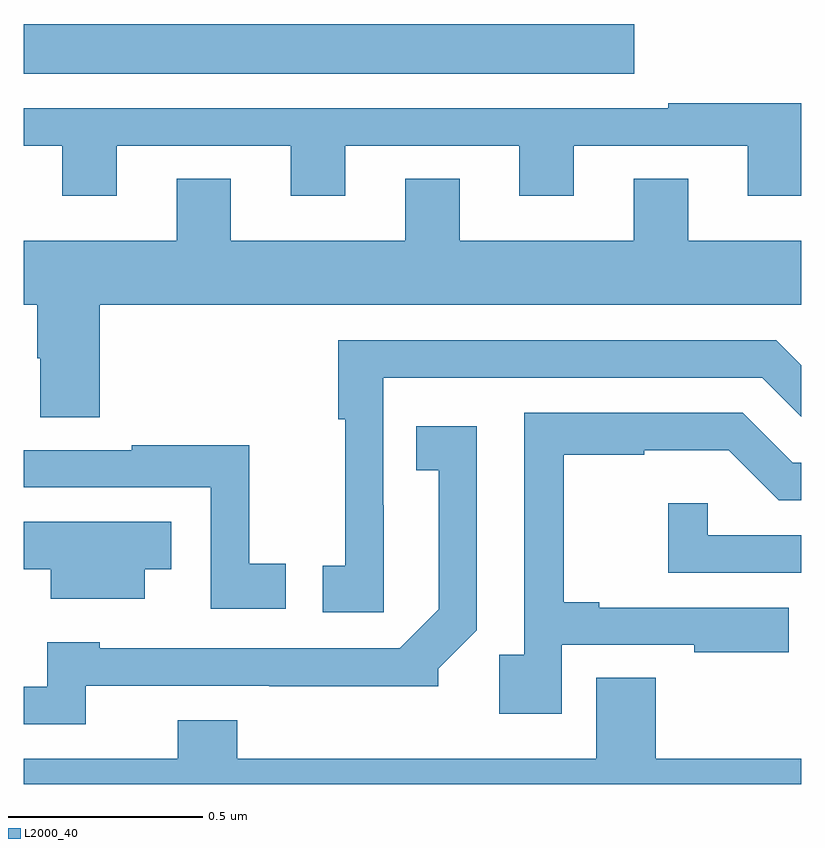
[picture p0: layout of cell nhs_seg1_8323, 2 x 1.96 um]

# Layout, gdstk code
import gdstk
lib = gdstk.Library(unit=1e-6, precision=1e-09)
def R(c, l, rs):  # rectangles x0, y0, x1, y1
    for r in rs: c.add(gdstk.rectangle(r[:2], r[2:], *l))
def P(c, l, *ps):  # polygons
    for p in ps: c.add(gdstk.Polygon(p, *l))
L2000_40 = (2000, 40)

nhs_seg1_8323 = lib.new_cell('nhs_seg1_8323')
R(nhs_seg1_8323, L2000_40, [(215,519.026,216.571,519.154)])
P(nhs_seg1_8323, L2000_40, [(215.239,518.841),(215.687,518.841),(215.687,518.712),(215.827,518.712),(215.827,518.841),(216.275,518.841),(216.275,518.712),(216.415,518.712),(216.415,518.841),(216.863,518.841),(216.863,518.712),(217,518.712),(217,518.95),(216.658,518.95),(216.658,518.937),(215,518.937),(215,518.841),(215.099,518.841),(215.099,518.712),(215.239,518.712)],
  [(215.195,518.432),(217,518.432),(217,518.596),(216.709,518.596),(216.709,518.756),(216.569,518.756),(216.569,518.596),(216.121,518.596),(216.121,518.756),(215.981,518.756),(215.981,518.596),(215.533,518.596),(215.533,518.756),(215.393,518.756),(215.393,518.596),(215,518.596),(215,518.432),(215.035,518.432),(215.035,518.294),(215.042,518.294),(215.042,518.143),(215.195,518.143)],
  [(215.926,517.916),(215.925,517.916),(215.925,518.244),(216.9,518.244),(217,518.144),(217,518.276),(216.936,518.34),(215.809,518.34),(215.809,518.137),(215.827,518.137),(215.827,517.761),(215.769,517.761),(215.769,517.641),(215.926,517.641)],
  [(216.384,517.557),(216.725,517.557),(216.725,517.538),(216.968,517.538),(216.968,517.653),(216.481,517.653),(216.481,517.666),(216.389,517.666),(216.389,518.046),(216.596,518.046),(216.596,518.057),(216.814,518.057),(216.942,517.929),(217,517.929),(217,518.025),(216.978,518.025),(216.849,518.154),(216.288,518.154),(216.288,517.531),(216.223,517.531),(216.223,517.38),(216.384,517.38)],
  [(215.16,517.452),(215.632,517.452),(215.632,517.451),(216.066,517.451),(216.066,517.495),(216.165,517.594),(216.165,518.119),(216.01,518.119),(216.01,518.006),(216.068,518.006),(216.068,517.649),(215.967,517.548),(215.196,517.548),(215.196,517.564),(215.06,517.564),(215.06,517.449),(215,517.449),(215,517.353),(215.16,517.353)],
  [(215.674,517.766),(215.58,517.766),(215.58,518.071),(215.278,518.071),(215.278,518.058),(215,518.058),(215,517.962),(215.481,517.962),(215.481,517.65),(215.674,517.65)],
  [(217,517.839),(216.759,517.839),(216.759,517.921),(216.658,517.921),(216.658,517.743),(217,517.743)],
  [(215.311,517.751),(215.38,517.751),(215.38,517.873),(215,517.873),(215,517.751),(215.069,517.751),(215.069,517.676),(215.311,517.676)],
  [(217,517.264),(216.626,517.264),(216.626,517.472),(216.473,517.472),(216.473,517.264),(215.549,517.264),(215.549,517.363),(215.396,517.363),(215.396,517.264),(215,517.264),(215,517.199),(217,517.199)])

lib.write_gds('nhs_seg1_8323.gds')
